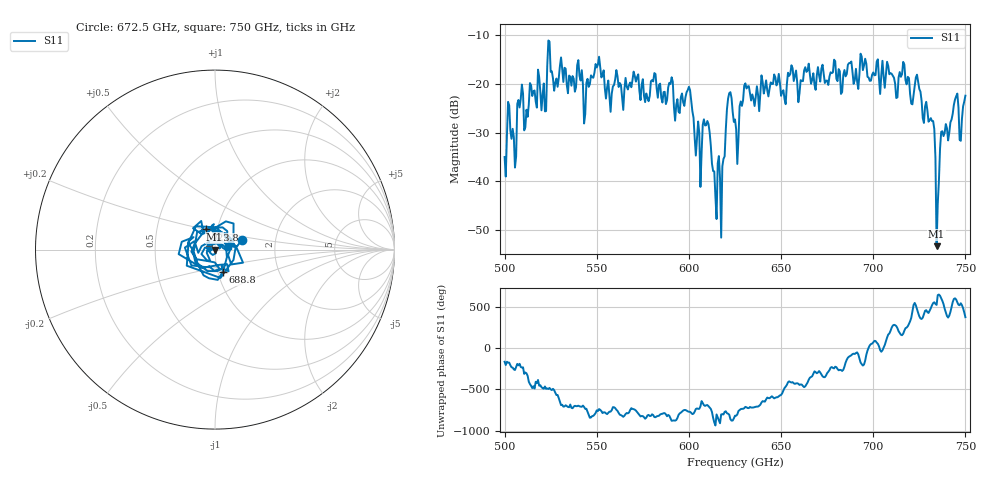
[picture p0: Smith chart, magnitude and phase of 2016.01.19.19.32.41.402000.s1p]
!Created with skrf (http://scikit-rf.org).
# GHz S RI R 50.0
!freq ReS11 ImS11
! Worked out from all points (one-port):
!   401 points, 500 GHz to 750 GHz, reference 50 ohm
!   lowest |S11| = -53.3 dB at 734.4 GHz (marker M1), VSWR 1.00, Z = 49.8 + j0.0482 ohm
!   |S11| at or under -10 dB: start of sweep to end of sweep
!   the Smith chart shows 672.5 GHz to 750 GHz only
!   S11 on the Smith chart (normalised r, x): 672.5 GHz: 1.34, +0.14; 688.8 GHz: 1.06, -0.27; 723.8 GHz: 0.88, +0.20; 750 GHz: 1.15, +0.05
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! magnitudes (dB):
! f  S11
! 500 GHz  -35.0
! 505 GHz  -30.9
! 508.8 GHz  -23.1
! 511.9 GHz  -25.3
! 515 GHz  -22.5
! 521.2 GHz  -19.9
! 524.4 GHz  -11.3
! 531.2 GHz  -16.9
! 562.5 GHz  -19.8
! 590 GHz  -20.0
! 593.8 GHz  -23.2
! 600 GHz  -20.6
! 605 GHz  -27.7
! 609.4 GHz  -28.5
! 616.2 GHz  -34.8
! 621.9 GHz  -21.9
! 625 GHz  -27.3
! 631.2 GHz  -21.0
! 656.2 GHz  -16.8
! 672.5 GHz  -16.1
! 687.5 GHz  -15.7
! 688.8 GHz  -17.6
! 718.8 GHz  -18.6
! 723.8 GHz  -18.1
! 731.9 GHz  -27.6
! 734.4 GHz  -53.3
! 738.1 GHz  -30.7
! 750 GHz  -22.4
